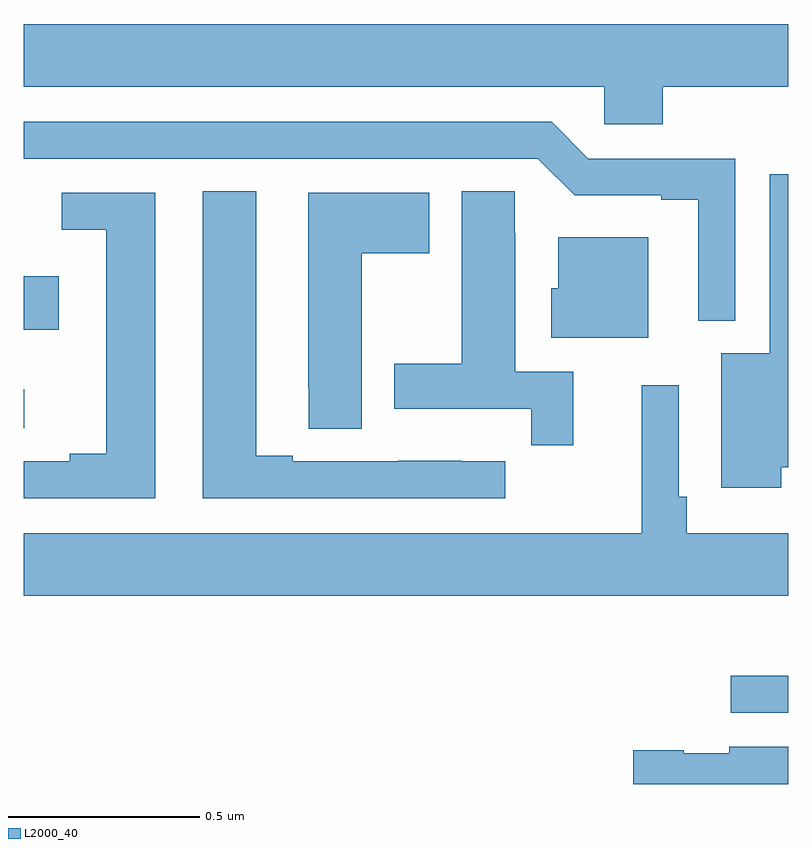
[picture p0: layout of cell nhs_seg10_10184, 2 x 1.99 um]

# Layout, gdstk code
import gdstk
lib = gdstk.Library(unit=1e-6, precision=1e-09)
def R(c, l, rs):  # rectangles x0, y0, x1, y1
    for r in rs: c.add(gdstk.rectangle(r[:2], r[2:], *l))
def P(c, l, *ps):  # polygons
    for p in ps: c.add(gdstk.Polygon(p, *l))
L2000_40 = (2000, 40)

nhs_seg10_10184 = lib.new_cell('nhs_seg10_10184')
R(nhs_seg10_10184, L2000_40, [(240.849,1290.687,241,1290.783), (239,1291.431,239.002,1291.533), (239,1291.688,239.092,1291.828)])
P(nhs_seg10_10184, L2000_40, [(240.671,1292.324),(241,1292.324),(241,1292.488),(239,1292.488),(239,1292.324),(240.519,1292.324),(240.519,1292.226),(240.671,1292.226)],
  [(240.861,1292.136),(240.477,1292.136),(240.381,1292.232),(239,1292.232),(239,1292.136),(240.345,1292.136),(240.441,1292.04),(240.668,1292.04),(240.668,1292.028),(240.764,1292.028),(240.764,1291.712),(240.861,1291.712)],
  [(240.982,1291.328),(241,1291.328),(241,1292.095),(240.951,1292.095),(240.951,1291.627),(240.824,1291.627),(240.824,1291.275),(240.982,1291.275)],
  [(240.437,1291.578),(240.286,1291.578),(240.286,1291.94),(240.285,1291.94),(240.285,1292.051),(240.146,1292.051),(240.146,1291.599),(239.969,1291.599),(239.969,1291.482),(240.328,1291.482),(240.328,1291.386),(240.437,1291.386)],
  [(240.259,1291.344),(240.146,1291.344),(240.146,1291.345),(239.98,1291.345),(239.98,1291.344),(239.704,1291.344),(239.704,1291.359),(239.608,1291.359),(239.608,1292.051),(239.468,1292.051),(239.468,1291.248),(240.259,1291.248)],
  [(239.884,1291.888),(240.061,1291.888),(240.061,1292.047),(239.744,1292.047),(239.744,1291.537),(239.745,1291.537),(239.745,1291.429),(239.884,1291.429)],
  [(239.344,1292.046),(239.1,1292.046),(239.1,1291.95),(239.216,1291.95),(239.216,1291.364),(239.12,1291.364),(239.12,1291.344),(239,1291.344),(239,1291.248),(239.344,1291.248)],
  [(240.634,1291.93),(240.398,1291.93),(240.398,1291.797),(240.38,1291.797),(240.38,1291.667),(240.634,1291.667)],
  [(241,1291.156),(240.734,1291.156),(240.734,1291.252),(240.714,1291.252),(240.714,1291.543),(240.617,1291.543),(240.617,1291.156),(239,1291.156),(239,1290.992),(241,1290.992)],
  [(241,1290.598),(240.846,1290.598),(240.846,1290.58),(240.726,1290.58),(240.726,1290.588),(240.594,1290.588),(240.594,1290.5),(241,1290.5)])

lib.write_gds('nhs_seg10_10184.gds')
